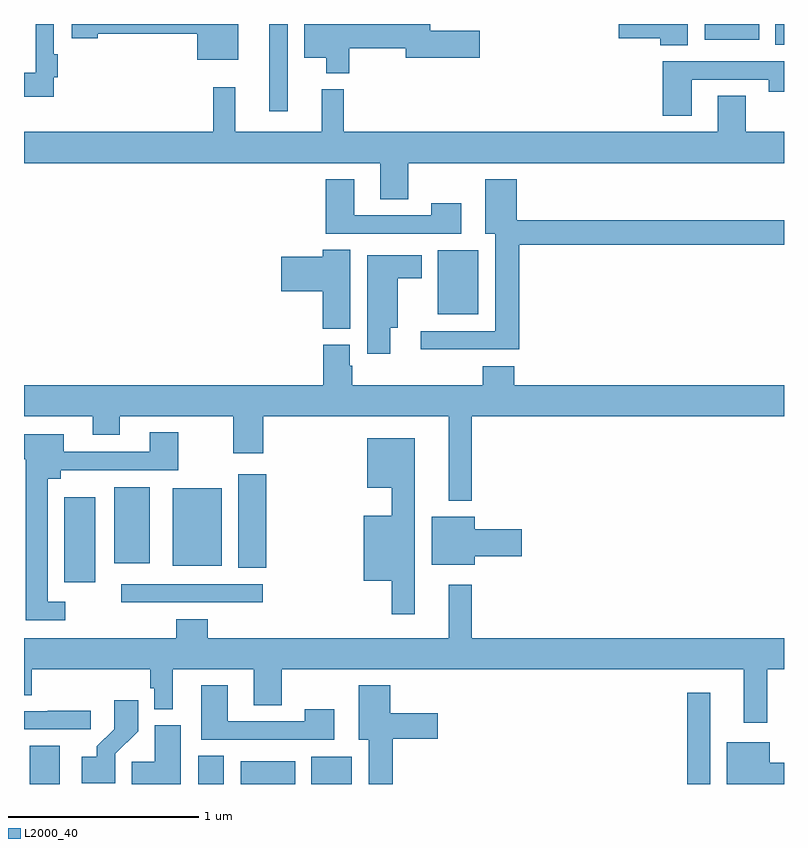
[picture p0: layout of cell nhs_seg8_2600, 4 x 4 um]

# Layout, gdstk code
import gdstk
lib = gdstk.Library(unit=1e-6, precision=1e-09)
def R(c, l, rs):  # rectangles x0, y0, x1, y1
    for r in rs: c.add(gdstk.rectangle(r[:2], r[2:], *l))
def P(c, l, *ps):  # polygons
    for p in ps: c.add(gdstk.Polygon(p, *l))
L2000_40 = (2000, 40)

nhs_seg8_2600 = lib.new_cell('nhs_seg8_2600')
R(nhs_seg8_2600, L2000_40, [(275.03,1111.9,275.188,1112.102), (275.918,1111.9,276.052,1112.048), (276.14,1111.9,276.427,1112.02), (276.512,1111.9,276.724,1112.044), (278.49,1111.9,278.611,1112.38), (275.511,1112.856,276.256,1112.952), (275.213,1112.961,275.374,1113.409), (276.128,1113.037,276.275,1113.529), (275.783,1113.05,276.04,1113.457), (275.474,1113.062,275.662,1113.463), (277.178,1114.373,277.39,1114.708), (276.29,1115.442,276.387,1115.9), (278.954,1115.792,279,1115.9), (278.582,1115.816,278.869,1115.9)])
P(nhs_seg8_2600, L2000_40, [(278.494,1115.9),(278.13,1115.9),(278.13,1115.825),(278.348,1115.825),(278.348,1115.788),(278.494,1115.788)],
  [(276.127,1115.9),(275.252,1115.9),(275.252,1115.825),(275.387,1115.825),(275.387,1115.848),(275.912,1115.848),(275.912,1115.711),(276.127,1115.711)],
  [(276.712,1115.772),(277.01,1115.772),(277.01,1115.722),(277.399,1115.722),(277.399,1115.864),(277.138,1115.864),(277.138,1115.9),(276.476,1115.9),(276.476,1115.723),(276.59,1115.723),(276.59,1115.642),(276.712,1115.642)],
  [(275.157,1115.62),(275.177,1115.62),(275.177,1115.74),(275.157,1115.74),(275.157,1115.9),(275.061,1115.9),(275.061,1115.644),(275,1115.644),(275,1115.516),(275.157,1115.516)],
  [(278.515,1115.607),(278.92,1115.607),(278.92,1115.544),(279,1115.544),(279,1115.703),(278.363,1115.703),(278.363,1115.418),(278.515,1115.418)],
  [(277.023,1115.168),(279,1115.168),(279,1115.332),(278.799,1115.332),(278.799,1115.522),(278.651,1115.522),(278.651,1115.332),(276.683,1115.332),(276.683,1115.557),(276.566,1115.557),(276.566,1115.332),(276.113,1115.332),(276.113,1115.566),(275.995,1115.566),(275.995,1115.332),(275,1115.332),(275,1115.168),(276.875,1115.168),(276.875,1114.978),(277.023,1114.978)],
  [(277.607,1114.738),(279,1114.738),(279,1114.867),(277.594,1114.867),(277.594,1115.083),(277.427,1115.083),(277.427,1114.796),(277.481,1114.796),(277.481,1114.284),(277.089,1114.284),(277.089,1114.187),(277.607,1114.187)],
  [(277.3,1114.957),(277.144,1114.957),(277.144,1114.893),(276.739,1114.893),(276.739,1115.083),(276.587,1115.083),(276.587,1114.797),(277.3,1114.797)],
  [(276.718,1114.712),(276.572,1114.712),(276.572,1114.676),(276.354,1114.676),(276.354,1114.493),(276.572,1114.493),(276.572,1114.297),(276.718,1114.297)],
  [(276.928,1114.301),(276.967,1114.301),(276.967,1114.562),(277.093,1114.562),(277.093,1114.684),(276.806,1114.684),(276.806,1114.164),(276.928,1114.164)],
  [(277.357,1113.836),(279,1113.836),(279,1114),(277.58,1114),(277.58,1114.099),(277.415,1114.099),(277.415,1114),(276.728,1114),(276.728,1114.101),(276.715,1114.101),(276.715,1114.212),(276.575,1114.212),(276.575,1114),(275,1114),(275,1113.836),(275.363,1113.836),(275.363,1113.737),(275.503,1113.737),(275.503,1113.836),(276.1,1113.836),(276.1,1113.642),(276.26,1113.642),(276.26,1113.836),(277.235,1113.836),(277.235,1113.392),(277.357,1113.392)],
  [(275.218,1112.859),(275.124,1112.859),(275.124,1113.506),(275.194,1113.506),(275.194,1113.552),(275.811,1113.552),(275.811,1113.751),(275.663,1113.751),(275.663,1113.648),(275.209,1113.648),(275.209,1113.742),(275,1113.742),(275,1113.608),(275.008,1113.608),(275.008,1112.763),(275.218,1112.763)],
  [(277.057,1113.721),(276.806,1113.721),(276.806,1113.458),(276.936,1113.458),(276.936,1113.313),(276.788,1113.313),(276.788,1112.969),(276.936,1112.969),(276.936,1112.793),(277.057,1112.793)],
  [(277.372,1113.1),(277.621,1113.1),(277.621,1113.242),(277.372,1113.242),(277.372,1113.307),(277.145,1113.307),(277.145,1113.053),(277.372,1113.053)],
  [(278.911,1112.504),(279,1112.504),(279,1112.668),(277.357,1112.668),(277.357,1112.95),(277.235,1112.95),(277.235,1112.668),(275.966,1112.668),(275.966,1112.767),(275.801,1112.767),(275.801,1112.668),(275,1112.668),(275,1112.368),(275.042,1112.368),(275.042,1112.504),(275.665,1112.504),(275.665,1112.403),(275.685,1112.403),(275.685,1112.294),(275.782,1112.294),(275.782,1112.504),(276.209,1112.504),(276.209,1112.314),(276.357,1112.314),(276.357,1112.504),(278.789,1112.504),(278.789,1112.223),(278.911,1112.223)],
  [(276.941,1112.138),(277.177,1112.138),(277.177,1112.272),(276.928,1112.272),(276.928,1112.419),(276.761,1112.419),(276.761,1112.132),(276.815,1112.132),(276.815,1111.9),(276.941,1111.9)],
  [(276.634,1112.293),(276.478,1112.293),(276.478,1112.229),(276.073,1112.229),(276.073,1112.419),(275.933,1112.419),(275.933,1112.133),(276.634,1112.133)],
  [(275.481,1112.059),(275.6,1112.178),(275.6,1112.341),(275.475,1112.341),(275.475,1112.189),(275.384,1112.099),(275.384,1112.044),(275.304,1112.044),(275.304,1111.904),(275.481,1111.904)],
  [(275.35,1112.286),(275.125,1112.286),(275.125,1112.283),(275,1112.283),(275,1112.187),(275.35,1112.187)],
  [(275.824,1112.209),(275.687,1112.209),(275.687,1112.018),(275.566,1112.018),(275.566,1111.9),(275.824,1111.9)],
  [(279,1112.013),(278.926,1112.013),(278.926,1112.119),(278.699,1112.119),(278.699,1111.9),(279,1111.9)])

lib.write_gds('nhs_seg8_2600.gds')
